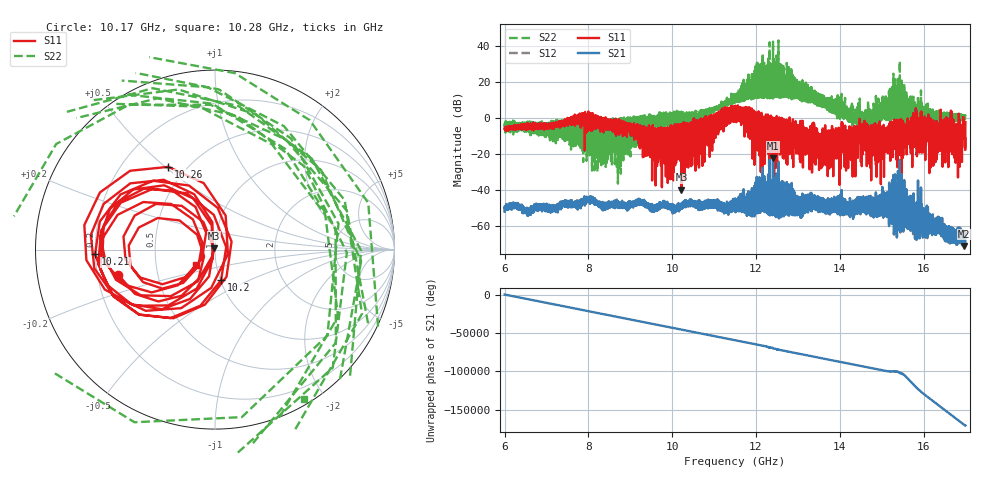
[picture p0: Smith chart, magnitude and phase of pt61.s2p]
#  HZ  S  RI  R  50.00
! Rohde & Schwarz Vector Network Analyzer
! Rohde-Schwarz,ZNA67-2Port,1332450062101215,3.01
! Created: UTC 10/16/2026, 10:59:04 AM
! freq[Hz]  re:S11  im:S11  re:S21  im:S21  re:S12  im:S12  re:S22  im:S22
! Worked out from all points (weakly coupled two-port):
!   11001 points, 6 GHz to 17 GHz, reference 50 ohm
!   highest |S21| = -22.26 dB at 12.41 GHz (marker M1); lowest = -70.8 dB at 16.97 GHz (marker M2)
!   lowest |S11| = -39.7 dB at 10.22 GHz (marker M3), VSWR 1.02, Z = 49.3 + j0.787 ohm
!   |S11| at or under -10 dB: 13.52857 GHz to 13.56794 GHz (39.37 MHz wide, 0.291 % of centre); 13.61124 GHz to 13.63716 GHz (25.93 MHz wide, 0.19 % of centre); 14.1465 GHz to 14.17287 GHz (26.37 MHz wide, 0.186 % of centre) (the widest 3 of 489)
!   |S22| runs from -36.3 to 42.8 dB; largest |S21 - S12| = 0.0051
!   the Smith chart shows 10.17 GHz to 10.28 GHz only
!   S11 on the Smith chart (normalised r, x): 10.17 GHz: 0.29, -0.12; 10.2 GHz: 1.01, -0.35; 10.21 GHz: 0.20, -0.02; 10.26 GHz: 0.40, +0.51; 10.28 GHz: 0.80, -0.14
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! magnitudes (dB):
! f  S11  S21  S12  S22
! 6 GHz  -6.0  -51.8  -51.8  -5.0
! 7.834 GHz  -0.8  -45.8  -45.6  -2.7
! 8.512 GHz  -1.7  -47.5  -47.3  -1.5
! 9.667 GHz  -5.9  -48.7  -49.0  1.6
! 10.17 GHz  -5.1  -50.1  -50.2  2.3
! 10.2 GHz  -15.2  -48.6  -48.7  1.5
! 10.21 GHz  -3.5  -48.9  -49.0  3.4
! 10.22 GHz  -39.7  -47.7  -47.8  -1.8
! 10.26 GHz  -5.5  -49.4  -49.5  -0.1
! 10.28 GHz  -17.4  -46.4  -46.5  -0.3
! 11.5 GHz  6.6  -48.2  -48.1  10.8
! 12.41 GHz  -16.4  -22.3  -22.0  42.2
! 13.33 GHz  -7.6  -48.4  -48.4  10.3
! 13.54 GHz  -13.8  -45.3  -44.9  12.4
! 14.38 GHz  -5.1  -51.3  -50.9  -1.5
! 15.17 GHz  -13.6  -49.1  -48.7  3.2
! 15.68 GHz  -9.4  -48.0  -48.0  4.0
! 15.8 GHz  -3.9  -53.5  -53.6  2.0
! 16.19 GHz  -8.7  -58.8  -59.3  -0.3
! 16.78 GHz  -13.0  -63.8  -63.7  1.7
! 16.97 GHz  -4.2  -70.8  -70.9  -0.9
! 17 GHz  -2.3  -66.3  -66.1  0.9
